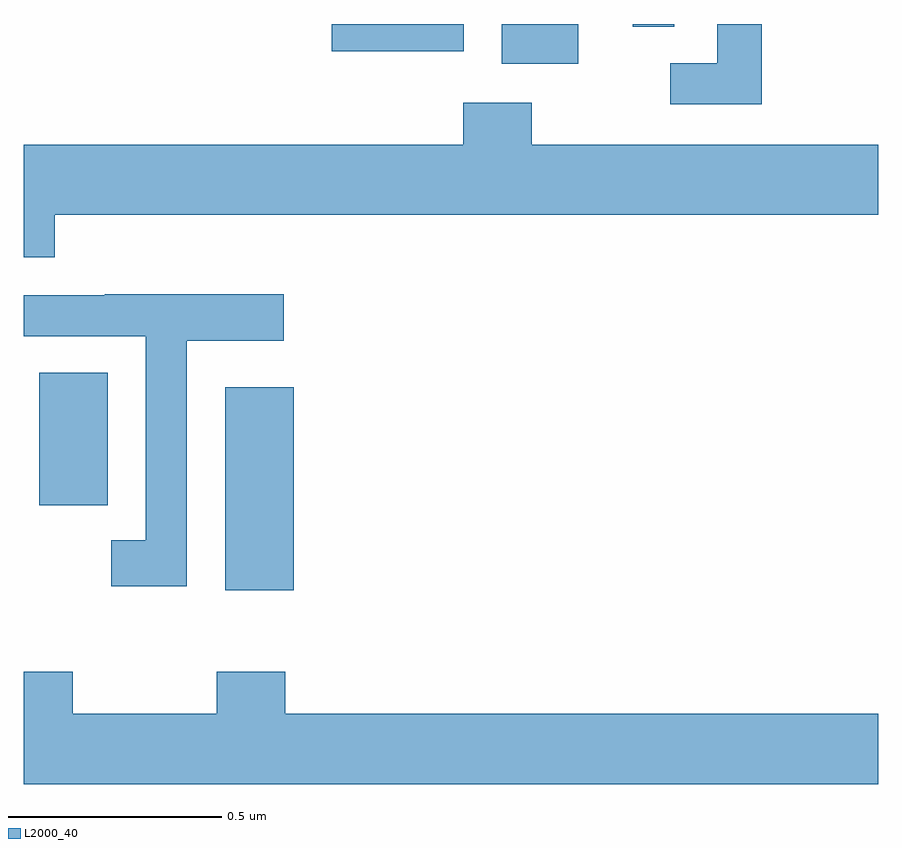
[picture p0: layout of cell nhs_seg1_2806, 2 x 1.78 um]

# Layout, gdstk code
import gdstk
lib = gdstk.Library(unit=1e-6, precision=1e-09)
def R(c, l, rs):  # rectangles x0, y0, x1, y1
    for r in rs: c.add(gdstk.rectangle(r[:2], r[2:], *l))
def P(c, l, *ps):  # polygons
    for p in ps: c.add(gdstk.Polygon(p, *l))
L2000_40 = (2000, 40)

nhs_seg1_2806 = lib.new_cell('nhs_seg1_2806')
R(nhs_seg1_2806, L2000_40, [(146.471,530.874,146.632,531.349), (146.036,531.072,146.197,531.383), (147.119,532.106,147.298,532.199), (146.721,532.135,147.03,532.199), (147.426,532.192,147.522,532.199)])
P(nhs_seg1_2806, L2000_40, [(147.727,532.199),(147.623,532.199),(147.623,532.107),(147.513,532.107),(147.513,532.011),(147.727,532.011)],
  [(146.072,531.752),(148,531.752),(148,531.916),(147.189,531.916),(147.189,532.015),(147.029,532.015),(147.029,531.916),(146,531.916),(146,531.653),(146.072,531.653)],
  [(146.382,531.458),(146.608,531.458),(146.608,531.566),(146.189,531.566),(146.189,531.564),(146,531.564),(146,531.468),(146.286,531.468),(146.286,530.991),(146.205,530.991),(146.205,530.883),(146.382,530.883)],
  [(148,530.584),(146.612,530.584),(146.612,530.683),(146.452,530.683),(146.452,530.584),(146.115,530.584),(146.115,530.683),(146,530.683),(146,530.42),(148,530.42)])

lib.write_gds('nhs_seg1_2806.gds')
